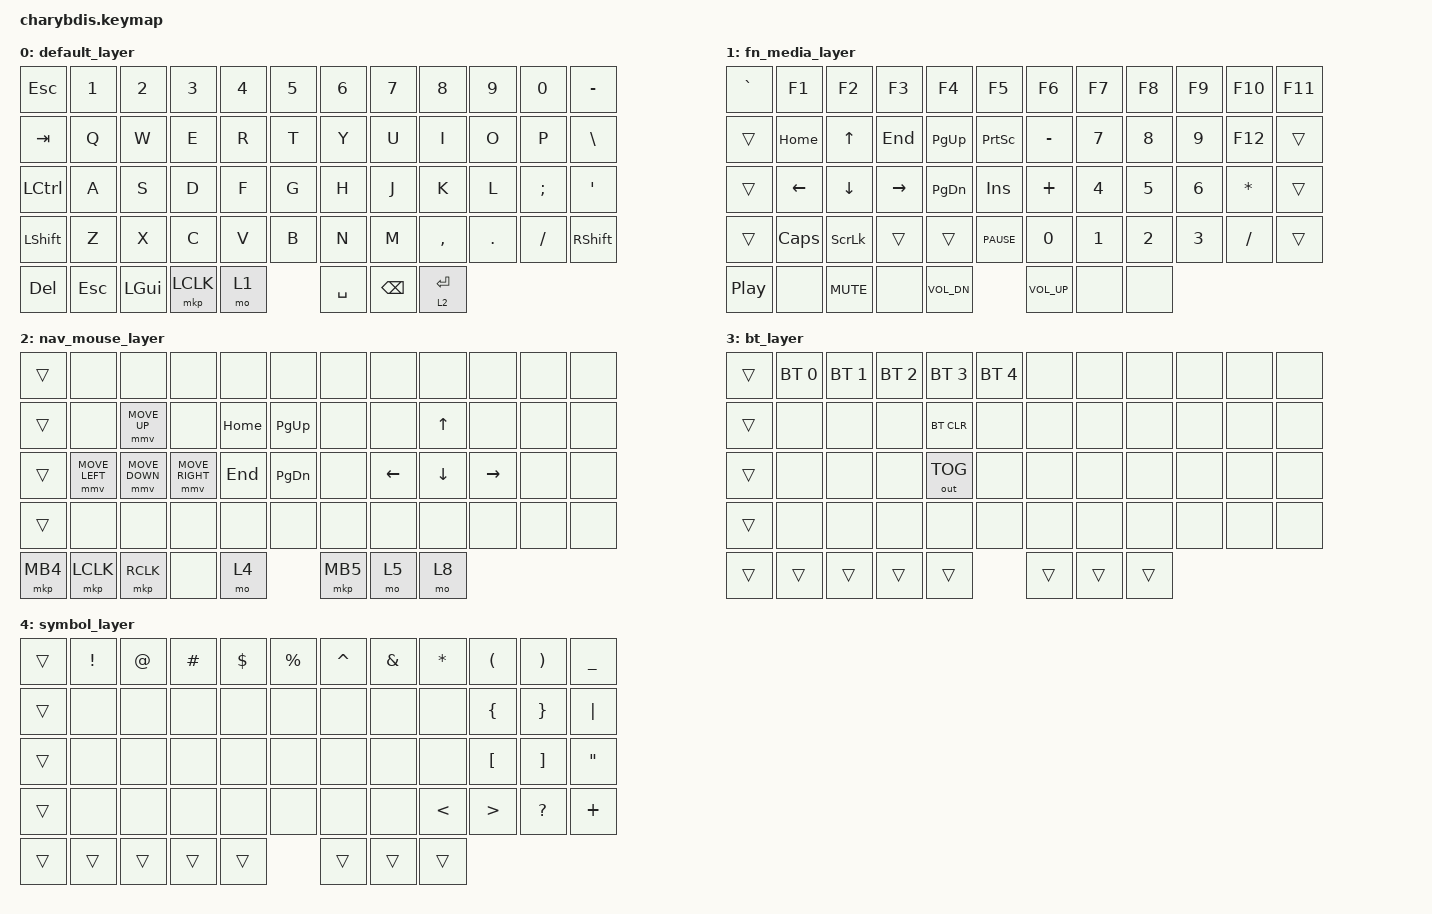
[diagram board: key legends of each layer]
#include <dt-bindings/zmk/mouse.h>
#include <behaviors/mouse_keys.dtsi>
#include <behaviors.dtsi>
#include <dt-bindings/zmk/bt.h>
#include <dt-bindings/zmk/keys.h>
#include <dt-bindings/zmk/outputs.h>
#include <dt-bindings/zmk/pointing.h>

/ {
    /* input config for mouse move mode */

    trackball_listener {
        compatible = "zmk,input-behavior-listener";
        device = <&vtrackball>;
        layers = <0 2 5>;
        evt-type = <INPUT_EV_REL>;
        x-input-code = <INPUT_REL_X>;
        y-input-code = <INPUT_REL_Y>;
        scale-multiplier = <4>;
        scale-divisor = <5>;

        // bindings = <&ib_toggle_layer 7>;
    };

    /* input config for snipe mode */

    trackball_snipe_listener {
        compatible = "zmk,input-behavior-listener";
        device = <&vtrackball>;
        layers = <8>;
        evt-type = <INPUT_EV_REL>;
        x-input-code = <INPUT_REL_X>;
        y-input-code = <INPUT_REL_Y>;
        scale-multiplier = <1>;
        scale-divisor = <6>;
    };

    /* input config for mouse scroll mode */

    trackball_scroll_listener {
        compatible = "zmk,input-behavior-listener";
        device = <&vtrackball>;
        layers = <6>;
        evt-type = <INPUT_EV_REL>;
        x-input-code = <INPUT_REL_MISC>;
        y-input-code = <INPUT_REL_WHEEL>;
        y-invert;
        bindings = <&ib_wheel_scaler 1 14>;
    };

    /* define a resolution down scaler only for INPUT_REL_WHEEL */

    ib_wheel_scaler: ib_wheel_scaler {
        compatible = "zmk,input-behavior-scaler";
        #binding-cells = <2>;
        evt-type = <INPUT_EV_REL>;
        input-code = <INPUT_REL_WHEEL>;
    };

    keymap {
        compatible = "zmk,keymap";

        // Layer 0 - Default QWERTY
        // ╭────────┬────────┬────────┬────────┬────────┬────────╮  ╭────────┬────────┬────────┬────────┬────────┬────────╮
        // │  ESC   │   1    │   2    │   3    │   4    │   5    │  │   6    │   7    │   8    │   9    │   0    │   -    │
        // ├────────┼────────┼────────┼────────┼────────┼────────┤  ├────────┼────────┼────────┼────────┼────────┼────────┤
        // │  TAB   │   Q    │   W    │   E    │   R    │   T    │  │   Y    │   U    │   I    │   O    │   P    │   \    │
        // ├────────┼────────┼────────┼────────┼────────┼────────┤  ├────────┼────────┼────────┼────────┼────────┼────────┤
        // │  CTRL  │   A    │   S    │   D    │   F    │   G    │  │   H    │   J    │   K    │   L    │   ;    │   '    │
        // ├────────┼────────┼────────┼────────┼────────┼────────┤  ├────────┼────────┼────────┼────────┼────────┼────────┤
        // │  SHIFT │   Z    │   X    │   C    │   V    │   B    │  │   N    │   M    │   ,    │   .    │   /    │  SHIFT │
        // ╰────────┴────────┴────────┼────────┼────────┼────────┼──┼────────┼────────┼────────┴────────┴────────┴────────╯
        //                            │   DEL  │   GUI  │   L1   │  │ SPACE  │  BSPC  │ RET/L2 │
        //                            │   ESC  │ L CLICK│        │  │        │        │        │
        //                            ╰────────┴────────┴────────┴──┴────────┴────────┴────────╯

        default_layer {
            bindings = <
&kp ESC    &kp N1   &kp N2    &kp N3     &kp N4  &kp N5    &kp N6     &kp N7    &kp N8     &kp N9   &kp N0    &kp MINUS
&kp TAB    &kp Q    &kp W     &kp E      &kp R   &kp T     &kp Y      &kp U     &kp I      &kp O    &kp P     &kp BSLH
&kp LCTRL  &kp A    &kp S     &kp D      &kp F   &kp G     &kp H      &kp J     &kp K      &kp L    &kp SEMI  &kp APOS
&kp LSHFT  &kp Z    &kp X     &kp C      &kp V   &kp B     &kp N      &kp M     &kp COMMA  &kp DOT  &kp FSLH  &kp RSHFT
&kp DEL    &kp ESC  &kp LGUI  &mkp LCLK  &mo 1             &kp SPACE  &kp BSPC  &lt 2 RET
            >;
        };

        // Layer 1 - Function and Media 
        // ╭────────┬────────┬────────┬────────┬────────┬────────╮  ╭────────┬────────┬────────┬────────┬────────┬────────╮
        // │   `    │  F1    │  F2    │  F3    │  F4    │  F5    │  │  F6    │  F7    │  F8    │  F9    │  F10   │  F11   │
        // ├────────┼────────┼────────┼────────┼────────┼────────┤  ├────────┼────────┼────────┼────────┼────────┼────────┤
        // │        │ HOME   │  UP    │  END   │ PG_UP  │PRINTSCR│  │   -    │   7    │   8    │   9    │  F12   │        │
        // ├────────┼────────┼────────┼────────┼────────┼────────┤  ├────────┼────────┼────────┼────────┼────────┼────────┤
        // │        │ LEFT   │ DOWN   │ RIGHT  │ PG_DN  │  INS   │  │   +    │   4    │   5    │   6    │   *    │        │
        // ├────────┼────────┼────────┼────────┼────────┼────────┤  ├────────┼────────┼────────┼────────┼────────┼────────┤
        // │        │ CAPS   │ SCROLL │        │        │ PAUSE  │  │   0    │   1    │   2    │   3    │   /    │        │
        // ╰────────┴────────┴────────┼────────┼────────┼────────┼──┼────────┼────────┼────────┴────────┴────────┴────────╯
        //                            │  PLAY  │  MUTE  │VOL DOWN│  │VOL UP  │        │        │
        //                            │        │        │        │  |        │        │        │
        //                            ╰────────┴────────┴────────┴──┴────────┴────────┴────────╯

        fn_media_layer {
            bindings = <
&kp GRAVE  &kp F1    &kp F2      &kp F3     &kp F4        &kp F5       &kp F6        &kp F7  &kp F8  &kp F9  &kp F10    &kp F11
&trans     &kp HOME  &kp UP      &kp END    &kp PG_UP     &kp PSCRN    &kp MINUS     &kp N7  &kp N8  &kp N9  &kp F12    &trans
&trans     &kp LEFT  &kp DOWN    &kp RIGHT  &kp PG_DN     &kp INS      &kp PLUS      &kp N4  &kp N5  &kp N6  &kp ASTRK  &trans
&trans     &kp CAPS  &kp SLCK    &trans     &trans        &kp PAUSE    &kp N0        &kp N1  &kp N2  &kp N3  &kp FSLH   &trans
&kp C_PP   &none     &kp C_MUTE  &none      &kp C_VOL_DN               &kp C_VOL_UP  &none   &none
            >;
        };

        // Layer 2 - Navigation and Mouse
        // ╭────────┬────────┬────────┬────────┬────────┬────────╮  ╭────────┬────────┬────────┬────────┬────────┬────────╮
        // │        │        │        │        │        │        │  │        │        │        │        │        │        │
        // ├────────┼────────┼────────┼────────┼────────┼────────┤  ├────────┼────────┼────────┼────────┼────────┼────────┤
        // │        │        │MOUSE UP│        │ HOME   │ PG UP  │  │        │        │   UP   │        │        │        │
        // ├────────┼────────┼────────┼────────┼────────┼────────┤  ├────────┼────────┼────────┼────────┼────────┼────────┤
        // │        │MOUSE LT│MOUSE DN│MOUSE RT│  END   │ PG DN  │  │        │  LEFT  │  DOWN  │ RIGHT  │        │        │
        // ├────────┼────────┼────────┼────────┼────────┼────────┤  ├────────┼────────┼────────┼────────┼────────┼────────┤
        // │        │        │        │        │        │        │  │        │        │        │        │        │        │
        // ╰────────┴────────┴────────┼────────┼────────┼────────┼──┼────────┼────────┼────────┴────────┴────────┴────────╯
        //                            │BUTTON 4│R CLICK │   L4   │  │BUTTON 5│   L5   │  SNIPE │
        //                            │L CLICK │        │        │  │
        //                            ╰────────┴────────┴────────┴──┴────────┴────────┴────────╯

        nav_mouse_layer {
            bindings = <
&trans    &none           &none           &none            &none     &none        &none     &none     &none     &none      &none  &none
&trans    &none           &mmv MOVE_UP    &none            &kp HOME  &kp PG_UP    &none     &none     &kp UP    &none      &none  &none
&trans    &mmv MOVE_LEFT  &mmv MOVE_DOWN  &mmv MOVE_RIGHT  &kp END   &kp PG_DN    &none     &kp LEFT  &kp DOWN  &kp RIGHT  &none  &none
&trans    &none           &none           &none            &none     &none        &none     &none     &none     &none      &none  &none
&mkp MB4  &mkp LCLK       &mkp RCLK       &none            &mo 4                  &mkp MB5  &mo 5     &mo 8
            >;
        };

        // Layer 3 - Bluetooth Controls
        // ╭────────┬────────┬────────┬────────┬────────┬────────╮  ╭────────┬────────┬────────┬────────┬────────┬────────╮
        // │        │ BT 0   │ BT 1   │ BT 2   │ BT 3   │ BT 4   │  │        │        │        │        │        │        │
        // ├────────┼────────┼────────┼────────┼────────┼────────┤  ├────────┼────────┼────────┼────────┼────────┼────────┤
        // │        │        │        │        │BT CLEAR│        │  │        │        │        │        │        │        │
        // ├────────┼────────┼────────┼────────┼────────┼────────┤  ├────────┼────────┼────────┼────────┼────────┼────────┤
        // │        │        │        │        │OUT TOGL│        │  │        │        │        │        │        │        │
        // ├────────┼────────┼────────┼────────┼────────┼────────┤  ├────────┼────────┼────────┼────────┼────────┼────────┤
        // │        │        │        │        │        │        │  │        │        │        │        │        │        │
        // ╰────────┴────────┴────────┼────────┼────────┼────────┼──┼────────┼────────┼────────┴────────┴────────┴────────╯
        //                            │        │        │        │  │        │        │        │
        //                            │        │        │        │  │
        //                            ╰────────┴────────┴────────┴──┴────────┴────────┴────────╯

        bt_layer {
            bindings = <
&trans  &bt BT_SEL 0  &bt BT_SEL 1  &bt BT_SEL 2  &bt BT_SEL 3  &bt BT_SEL 4    &none   &none   &none   &none  &none  &none
&trans  &none         &none         &none         &bt BT_CLR    &none           &none   &none   &none   &none  &none  &none
&trans  &none         &none         &none         &out OUT_TOG  &none           &none   &none   &none   &none  &none  &none
&trans  &none         &none         &none         &none         &none           &none   &none   &none   &none  &none  &none
&trans  &trans        &trans        &trans        &trans                        &trans  &trans  &trans
            >;
        };

        // Layer 4 - Symbols
        // ╭────────┬────────┬────────┬────────┬────────┬────────╮  ╭────────┬────────┬────────┬────────┬────────┬────────╮
        // │        │   !    │   @    │   #    │   $    │   %    │  │   ^    │   &    │   *    │   (    │   )    │   _    │
        // ├────────┼────────┼────────┼────────┼────────┼────────┤  ├────────┼────────┼────────┼────────┼────────┼────────┤
        // │        │        │        │        │        │        │  │        │        │        │   {    │   }    │   |    │
        // ├────────┼────────┼────────┼────────┼────────┼────────┤  ├────────┼────────┼────────┼────────┼────────┼────────┤
        // │        │        │        │        │        │        │  │        │        │        │   [    │   ]    │   "    │
        // ├────────┼────────┼────────┼────────┼────────┼────────┤  ├────────┼────────┼────────┼────────┼────────┼────────┤
        // │        │        │        │        │        │        │  │        │        │   <    │   >    │   ?    │   +    │
        // ╰────────┴────────┴────────┼────────┼────────┼────────┼──┼────────┼────────┼────────┴────────┴────────┴────────╯
        //                            │        │        │        │  │        │        │        │
        //                            │        │        │        │  │
        //                            ╰────────┴────────┴────────┴──┴────────┴────────┴────────╯

        symbol_layer {
            bindings = <
&trans  &kp EXCL  &kp AT  &kp HASH  &kp DLLR  &kp PRCNT    &kp CARET  &kp AMPS  &kp ASTRK  &kp LPAR  &kp RPAR   &kp UNDER
&trans  &none     &none   &none     &none     &none        &none      &none     &none      &kp LBRC  &kp RBRC   &kp PIPE
&trans  &none     &none   &none     &none     &none        &none      &none     &none      &kp LBKT  &kp RBKT   &kp DQT
&trans  &none     &none   &none     &none     &none        &none      &none     &kp LT     &kp GT    &kp QMARK  &kp PLUS
&trans  &trans    &trans  &trans    &trans                 &trans     &trans    &trans
            >;
        };
    };
};
